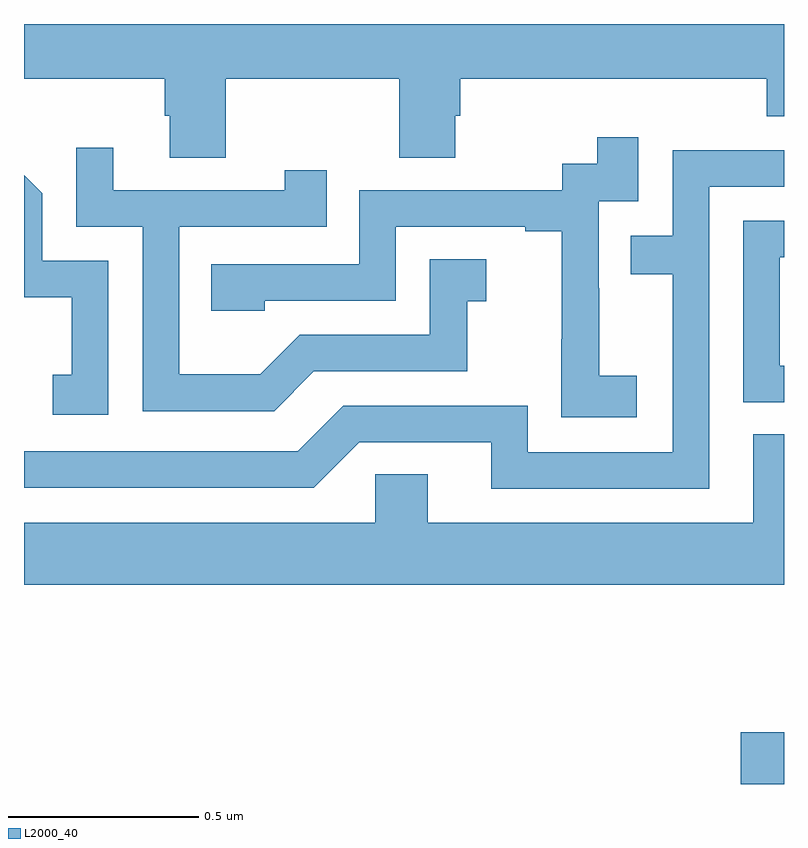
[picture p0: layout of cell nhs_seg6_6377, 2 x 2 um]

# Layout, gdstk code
import gdstk
lib = gdstk.Library(unit=1e-6, precision=1e-09)
def R(c, l, rs):  # rectangles x0, y0, x1, y1
    for r in rs: c.add(gdstk.rectangle(r[:2], r[2:], *l))
def P(c, l, *ps):  # polygons
    for p in ps: c.add(gdstk.Polygon(p, *l))
L2000_40 = (2000, 40)

nhs_seg6_6377 = lib.new_cell('nhs_seg6_6377')
R(nhs_seg6_6377, L2000_40, [(196.886,925.5,197,925.636)])
P(nhs_seg6_6377, L2000_40, [(195.531,927.356),(195.988,927.356),(195.988,927.148),(196.135,927.148),(196.135,927.258),(196.148,927.258),(196.148,927.356),(196.955,927.356),(196.955,927.257),(197,927.257),(197,927.5),(195,927.5),(195,927.356),(195.371,927.356),(195.371,927.258),(195.383,927.258),(195.383,927.148),(195.531,927.148)],
  [(196.612,926.575),(196.514,926.575),(196.514,926.804),(196.512,926.804),(196.512,927.033),(196.617,927.033),(196.617,927.202),(196.509,927.202),(196.509,927.132),(196.416,927.132),(196.416,927.063),(195.882,927.063),(195.882,926.868),(195.493,926.868),(195.493,926.745),(195.633,926.745),(195.633,926.772),(195.978,926.772),(195.978,926.967),(196.319,926.967),(196.319,926.955),(196.415,926.955),(196.415,926.671),(196.414,926.671),(196.414,926.465),(196.612,926.465)],
  [(195.763,926.586),(196.167,926.586),(196.167,926.771),(196.216,926.771),(196.216,926.881),(196.068,926.881),(196.068,926.682),(195.726,926.682),(195.622,926.578),(195.408,926.578),(195.408,926.967),(195.797,926.967),(195.797,927.115),(195.686,927.115),(195.686,927.063),(195.235,927.063),(195.235,927.175),(195.138,927.175),(195.138,926.967),(195.312,926.967),(195.312,926.481),(195.658,926.481)],
  [(196.803,927.072),(197,927.072),(197,927.168),(196.707,927.168),(196.707,926.943),(196.597,926.943),(196.597,926.842),(196.707,926.842),(196.707,926.373),(196.326,926.373),(196.326,926.496),(195.84,926.496),(195.72,926.376),(195,926.376),(195,926.28),(195.762,926.28),(195.882,926.4),(196.229,926.4),(196.229,926.277),(196.803,926.277)],
  [(195.222,926.877),(195.048,926.877),(195.048,927.054),(195,927.102),(195,926.781),(195.125,926.781),(195.125,926.577),(195.076,926.577),(195.076,926.472),(195.222,926.472)],
  [(197,926.601),(196.989,926.601),(196.989,926.886),(197,926.886),(197,926.982),(196.893,926.982),(196.893,926.505),(197,926.505)],
  [(197,926.42),(196.919,926.42),(196.919,926.188),(196.063,926.188),(196.063,926.315),(195.924,926.315),(195.924,926.188),(195,926.188),(195,926.024),(197,926.024)])

lib.write_gds('nhs_seg6_6377.gds')
